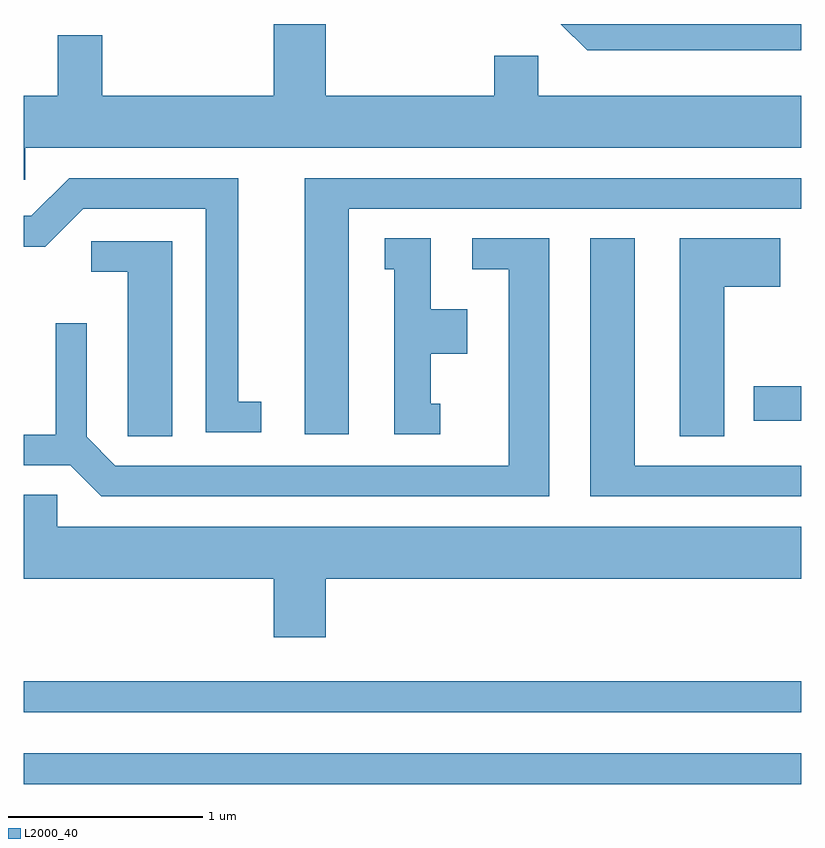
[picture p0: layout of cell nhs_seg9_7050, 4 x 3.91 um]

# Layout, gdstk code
import gdstk
lib = gdstk.Library(unit=1e-6, precision=1e-09)
def R(c, l, rs):  # rectangles x0, y0, x1, y1
    for r in rs: c.add(gdstk.rectangle(r[:2], r[2:], *l))
def P(c, l, *ps):  # polygons
    for p in ps: c.add(gdstk.Polygon(p, *l))
L2000_40 = (2000, 40)

nhs_seg9_7050 = lib.new_cell('nhs_seg9_7050')
R(nhs_seg9_7050, L2000_40, [(393.611,2008.521,397.611,2008.679), (393.611,2008.891,397.611,2009.049), (397.366,2010.391,397.611,2010.569)])
P(nhs_seg9_7050, L2000_40, [(393.619,2011.796),(397.611,2011.796),(397.611,2012.064),(396.259,2012.064),(396.259,2012.269),(396.031,2012.269),(396.031,2012.064),(395.164,2012.064),(395.164,2012.432),(394.896,2012.432),(394.896,2012.064),(394.014,2012.064),(394.014,2012.374),(393.786,2012.374),(393.786,2012.064),(393.611,2012.064),(393.611,2011.631),(393.619,2011.631)],
  [(397.611,2012.432),(396.373,2012.432),(396.509,2012.296),(397.611,2012.296)],
  [(395.284,2011.481),(397.611,2011.481),(397.611,2011.639),(395.056,2011.639),(395.056,2010.321),(395.284,2010.321)],
  [(394.833,2010.489),(394.714,2010.489),(394.714,2011.639),(393.844,2011.639),(393.649,2011.444),(393.611,2011.444),(393.611,2011.286),(393.722,2011.286),(393.917,2011.481),(394.546,2011.481),(394.546,2010.331),(394.833,2010.331)],
  [(396.314,2011.329),(395.918,2011.329),(395.918,2011.171),(396.106,2011.171),(396.106,2010.159),(394.082,2010.159),(393.934,2010.307),(393.934,2010.893),(393.776,2010.893),(393.776,2010.319),(393.611,2010.319),(393.611,2010.161),(393.849,2010.161),(394.009,2010.001),(396.314,2010.001)],
  [(395.753,2010.479),(395.704,2010.479),(395.704,2010.736),(395.894,2010.736),(395.894,2010.964),(395.704,2010.964),(395.704,2011.329),(395.468,2011.329),(395.468,2011.171),(395.516,2011.171),(395.516,2010.321),(395.753,2010.321)],
  [(397.611,2010.159),(396.754,2010.159),(396.754,2011.329),(396.526,2011.329),(396.526,2010.001),(397.611,2010.001)],
  [(397.214,2011.081),(397.504,2011.081),(397.504,2011.329),(396.986,2011.329),(396.986,2010.311),(397.214,2010.311)],
  [(394.374,2011.314),(393.958,2011.314),(393.958,2011.156),(394.146,2011.156),(394.146,2010.311),(394.374,2010.311)],
  [(395.164,2009.576),(397.611,2009.576),(397.611,2009.844),(393.784,2009.844),(393.784,2010.009),(393.611,2010.009),(393.611,2009.576),(394.896,2009.576),(394.896,2009.276),(395.164,2009.276)])

lib.write_gds('nhs_seg9_7050.gds')
